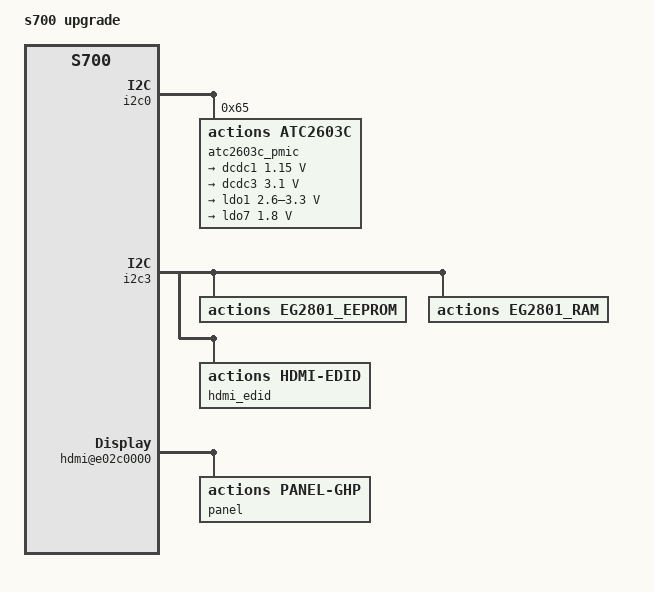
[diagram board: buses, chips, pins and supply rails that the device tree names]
/*
 * Copyright (c) 2015 Actions Semi Co., Ltd.
 *
 * SPDX-License-Identifier:	GPL-2.0+
 */

/dts-v1/;

#include "s700.dtsi"

/ {
	model = "s700 upgrade";
	compatible = "actions,s700_upgrade", "actions,s700";

	chosen {
		stdout-path = &serial2;
	};

	clock:e0168000 {
		compatible = "actions,owl-clk";
		core_pll = <1008>;
		dev_pll = <600>;
		display_pll = <720>;
	};

	pwm: pwm@e01b0000 {
		pwm0 {
			id = <0>;
			mfp = <0>;
		};

		pwm1 {
			id = <1>;
			mfp = <0>;
		};

		pwm2 {
			id = <2>;
			mfp = <0>;
		};
	};

	xhci@e0400000 {
		actions,vbus-gpio = <&gpiob 5 0>;  /* GPIOB5,  1: low active; 0: high active */
	};


	i2c0: i2c@e0170000 {
		#address-cells = <1>;
		#size-cells = <1>;
		atc2603c_pmic {
			compatible = "actions,atc2603c";
			reg = <0x65 1>;


			total_steps = <2625>;
			pwms_gpu = <&pwm 1 2625 0>;
			vdd_gpu = <485>;
			vdd_core = <490>;
			pwms_core = <&pwm 2 2625 0>;
			atc2603c_pstore {
				compatible = "actions,atc2603c-pstore";
			};

			voltage-regulators {
				dcdc1: dcdc1 {
					regulator-name = "dcdc1";
					regulator-min-microvolt = <1150000>;
					regulator-max-microvolt = <1150000>;
					regulator-always-on;
				};

				dcdc3: dcdc3 {
					regulator-name = "dcdc3";
					regulator-min-microvolt = <3100000>;
					regulator-max-microvolt = <3100000>;
					regulator-always-on;
				};

				ldo1: ldo1{
					regulator-name = "ldo1";
					regulator-min-microvolt  = <2600000>;
					regulator-max-microvolt = <3300000>;
					regulator-always-on;
				};


			ldo7: ldo7{
				regulator-name = "ldo7";
				regulator-min-microvolt  = <1800000>;
				regulator-max-microvolt = <1800000>;
				regulator-always-on;
			};
		};


		};
	};

	i2c3: i2c@e017c000 {
		eg2801_eeprom {
			compatible = "actions,eg2801_eeprom";
		};
		eg2801_ram {
			compatible = "actions,eg2801_ram";
		};
		hdmi_edid {
			compatible = "actions,hdmi-edid";
		};
	};

	//backlight {
	//	compatible = "actions,s700-pwm-backlight";

	//	/* GPIOD28, active high */
	//	en-gpios = <&gpioe 0 0>;

	//	/*1.pwm num; 2. period in ns; */
	//	/*3.plarity, 0: high active, 1: low active*/
	//	pwms = <&pwm 0 50000 1>;

	//	total_steps = <1024>;
	//	min_brightness = <100>;
	//	max_brightness = <1000>;
	//	dft_brightness = <500>;

	//	delay_bf_pwm = <0>; /*in ms*/
	//	delay_af_pwm = <20>; /*in ms*/
	//};

	//dsi: dsi@e0310000 {
	//	panel_configs = <&config0>;

	//	/* 1280x800p60 */
	//	config0: mipi_configs {
	//		lcd_mode = <1>;		/* 0: command mode 1: video mode */
	//		lane_count = <4>;	/* 1: 1,2:1~2, 3:1~3, 4:1~4
	//		lane_polarity = <0>;	/* 0: normal,1: reversed*/

	//		burst_bllp = <60>;	/* 0 ~ 333, just burst mode needed
	//					 * It will affect the frame rate */
	//		video_mode = <2>;	/* 0: sync mode, 1:de mode, 2: burst mode */
	//		pclk_rate = <68>;	/* 64MHz, HSCLK, divider 3*/
	//	};
  //
	//	/* hsd101puw1-a */
	//	panel@gmp {
	//		compatible = "actions,panel-gmp";
  //
	//		/* panel's fixed info */
	//		width_mm = <217>;
	//		height_mm = <135>;
	//		bpp = <24>;
  //
	//		//is_primary = <1>;
  //
	//		/* operation delay in ms */
	//		power_on_delay = <10>;
	//		power_off_delay = <0>;
	//		enable_delay = <10>;
	//		disable_delay = <0>;
  //
	//		power-gpio = <&gpiod 30 1>;
	//		reset-gpio = <&gpiod 19 1>;
	//		/* screen init command info */
	//		/* at the end of cmd array, "0x0" isn`t cmd, just the flag of the end */
	//		mipi_cmd = <0x0>;

	//		videomode-0 = <&mode0>;
	//		/* 1280x800p60 */
	//		mode0: videomode {
	//			refresh_rate = <60>;
	//			xres = <1280>;
	//			yres = <800>;
  //
	//			/* in pico second, 0.000 000 000 001s */
	//			pixel_clock = <12500>;
  //
	//			hsw = <10>;
	//			hbp = <20>;
	//			/*if the burst mode transmission, hfp need to includ burst_bllp*/
	//			hfp = <120>;

	//			vsw = <6>;
	//			vbp = <5>;
	//			/* vfp can be as small as possible,
	//			 * it related to preline time */
	//			vfp = <1>;
  //
	//			/* 0: FB_VMODE_NONINTERLACED, 1:FB_VMODE_INTERLACED */
	//			vmode = <0>;
	//		};
	//	};
	//};

	hdmi@e02c0000 {
		//hdcp_onoff = <0>;
		channel_invert = <0>;
		bit_invert = <0>;

		panel@ghp {
			compatible = "actions,panel-ghp";

			is_primary = <1>;
			draw_width = <1920>;
			draw_height = <1080>;
			videomode-0 = <&default_mode>;

			/* default mode used when EDID read error */
			default_mode: videomode {
				refresh_rate = <60>;

				xres = <1920>;
				yres = <1080>;
			};
		};
	};
	pmu {
		ldo_cfgs_1 = <0x7>;
	};
};
